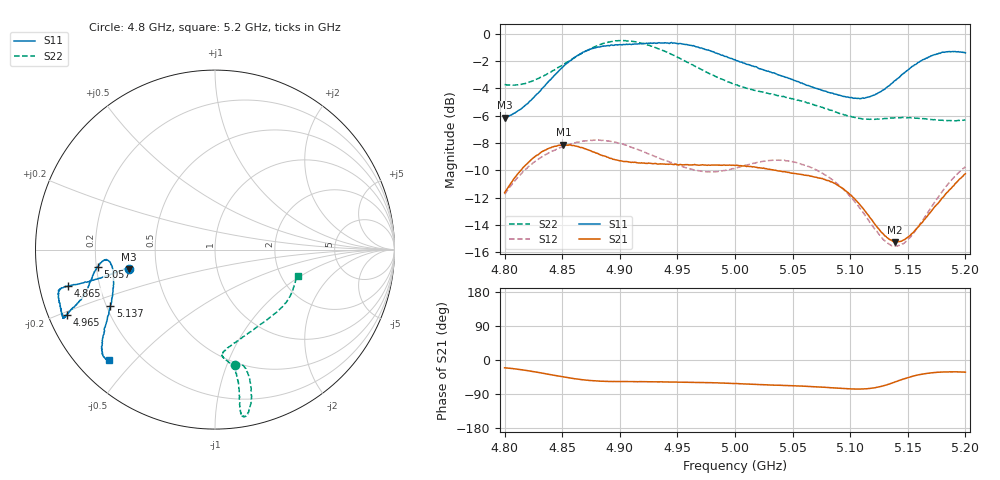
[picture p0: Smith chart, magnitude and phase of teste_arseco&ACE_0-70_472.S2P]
! Network Analyzer HP8722D
! Hewlett-Packard
! Data name: Linha & Wilkinson
! Saver's name: Rodrigo Anjos
! Comments: Teste da utilização de aquisição
! continua pelo VNA HP8722D
! Time and date: 8/5/2025 16:41
!  Frequency  S11  S21  S12  S22
# HZ  S  MA R 50
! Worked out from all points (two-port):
!   401 points, 4.8 GHz to 5.2 GHz, reference 50 ohm
!   highest |S21| = -8.12 dB at 4.851 GHz (marker M1); lowest = -15.3 dB at 5.139 GHz (marker M2)
!   |S21| within 3 dB of the highest: 4.804 GHz to 5.09 GHz (285.5 MHz wide, 5.77 % of centre); 5.190006 GHz to end of sweep
!   lowest |S11| = -6.1 dB at 4.8 GHz (marker M3), VSWR 2.95, Z = 17.1 - j4.88 ohm
!   |S11| at or under -10 dB: nowhere
!   |S22| runs from -6.4 to -0.5 dB; largest |S21 - S12| = 0.62
!   S11 on the Smith chart (normalised r, x): 4.8 GHz: 0.34, -0.10; 4.865 GHz: 0.09, -0.12; 4.965 GHz: 0.05, -0.21; 5.057 GHz: 0.21, -0.07; 5.137 GHz: 0.22, -0.24; 5.2 GHz: 0.09, -0.42
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4.8e9  0.4933 -167.4  0.2618 -20.6  0.2584 -141.8  0.6521 -80.2
4.826e9  0.5893 -166.8  0.354 -31.1  0.3394 -145.9  0.6772 -75.9
4.851e9  0.7592 -165.8  0.3927 -44.7  0.3867 -150.5  0.7736 -75.2
4.865e9  0.8409 -166.2  0.3848 -51.1  0.4015 -152.7  0.8402 -75.9
4.867e9  0.8495 -166.0  0.3833 -51.9  0.4035 -152.9  0.8491 -76.1
4.88e9  0.8922 -165.6  0.3651 -55.5  0.4084 -154.9  0.9036 -77.5
4.9e9  0.9135 -162.8  0.3428 -56.9  0.396 -157.0  0.944 -79.9
4.934e9  0.9286 -156.6  0.3335 -57.8  0.3518 -155.9  0.8807 -80.9
4.965e9  0.9015 -156.3  0.3321 -59.1  0.3169 -148.9  0.762 -80.1
5e9  0.8041 -159.4  0.3295 -62.2  0.3222 -137.6  0.6512 -81.6
5.035e9  0.7156 -165.8  0.3167 -66.4  0.344 -135.1  0.5977 -86.0
5.057e9  0.6607 -171.6  0.3055 -68.7  0.3341 -136.8  0.568 -85.0
5.067e9  0.639 -173.4  0.3005 -70.0  0.323 -137.6  0.5515 -82.7
5.083e9  0.6073 -174.6  0.2868 -73.2  0.295 -139.2  0.5249 -76.4
5.101e9  0.5851 -171.6  0.2558 -76.4  0.2507 -139.3  0.4973 -65.8
5.116e9  0.5869 -164.4  0.2159 -75.4  0.2073 -135.1  0.4865 -55.0
5.134e9  0.6459 -153.1  0.1766 -63.4  0.1693 -118.8  0.4896 -42.8
5.137e9  0.6628 -151.5  0.1736 -60.0  0.1675 -114.8  0.4918 -41.1
5.139e9  0.6746 -150.6  0.1725 -57.8  0.1669 -112.1  0.4927 -40.0
5.151e9  0.7424 -145.3  0.1811 -45.7  0.1782 -96.8  0.4933 -33.5
5.17e9  0.8304 -139.5  0.2228 -34.0  0.2305 -82.0  0.4856 -25.2
5.2e9  0.8513 -133.8  0.3072 -32.1  0.3259 -77.6  0.4833 -17.7
